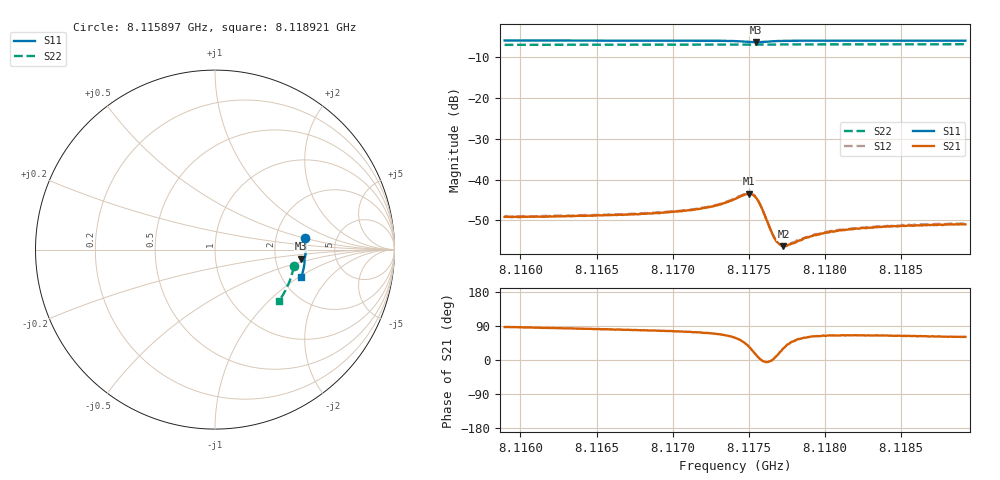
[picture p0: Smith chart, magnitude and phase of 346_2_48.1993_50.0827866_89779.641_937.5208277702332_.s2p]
#  HZ  S  RI  R  50.00
! Rohde & Schwarz Vector Network Analyzer
! Rohde-Schwarz,ZNB20-2Port,1311601062101988,3.16
! Created: UTC 3/20/2024, 11:51:36 AM
! freq[Hz]  re:S11  im:S11  re:S21  im:S21  re:S12  im:S12  re:S22  im:S22
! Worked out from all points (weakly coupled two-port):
!   401 points, 8.115897 GHz to 8.118921 GHz, reference 50 ohm
!   highest |S21| = -43.47 dB at 8.1175 GHz (marker M1); lowest = -56.3 dB at 8.117727 GHz (marker M2)
!   lowest |S11| = -6.3 dB at 8.117545 GHz (marker M3), VSWR 2.86, Z = 140 - j18.5 ohm
!   |S11| at or under -10 dB: nowhere
!   |S22| runs from -7.0 to -6.8 dB; largest |S21 - S12| = 0.00023
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8.1158967e9  0.5032 0.0658  0.000189 0.00348  0.00025 0.00353  0.4381 -0.0941
8.1164033e9  0.506 0.0279  0.000462 0.00356  0.000538 0.00362  0.431 -0.1285
8.11691e9  0.5058 -0.011  0.000843 0.00377  0.000894 0.00387  0.421 -0.1622
8.117099e9  0.5045 -0.0261  0.00114 0.00406  0.00117 0.00409  0.4164 -0.1748
8.11722e9  0.5029 -0.0365  0.00145 0.0043  0.00151 0.00434  0.4133 -0.1826
8.1173032e9  0.501 -0.0439  0.00182 0.00458  0.00191 0.00464  0.4111 -0.188
8.1174091e9  0.4954 -0.0546  0.00302 0.00496  0.00312 0.00504  0.4079 -0.1949
8.1174696e9  0.488 -0.0587  0.00449 0.00468  0.00471 0.00472  0.4059 -0.1986
8.1174998e9  0.4828 -0.0579  0.00547 0.00389  0.00563 0.00386  0.4049 -0.2004
8.1175225e9  0.4798 -0.055  0.00597 0.00282  0.0061 0.00279  0.4042 -0.2016
8.1175452e9  0.479 -0.0508  0.00584 0.00152  0.00597 0.00142  0.4038 -0.2029
8.1175754e9  0.4824 -0.046  0.00486 0.000158  0.00491 8.89e-05  0.4029 -0.2045
8.1176435e9  0.4931 -0.048  0.00241 -8.39e-05  0.00242 -0.000121  0.4014 -0.2087
8.1176662e9  0.4952 -0.0507  0.00193 0.000157  0.00196 0.000102  0.4008 -0.2104
8.1176964e9  0.4971 -0.0541  0.00158 0.000476  0.00155 0.000438  0.4002 -0.2123
8.1177267e9  0.498 -0.0576  0.00132 0.000779  0.00132 0.000786  0.3992 -0.2144
8.1177569e9  0.4986 -0.0608  0.00118 0.00105  0.00121 0.00105  0.3982 -0.2161
8.117825e9  0.499 -0.0676  0.001 0.00147  0.00104 0.00149  0.3962 -0.2207
8.1179157e9  0.4987 -0.0758  0.000942 0.0018  0.00098 0.00183  0.3934 -0.2262
8.1180896e9  0.4966 -0.0901  0.00103 0.00215  0.00101 0.0022  0.3875 -0.2369
8.1184224e9  0.4913 -0.1154  0.00115 0.00238  0.00116 0.00243  0.3756 -0.2573
8.1189215e9  0.4811 -0.1514  0.00137 0.00248  0.00142 0.00257  0.3559 -0.2861
